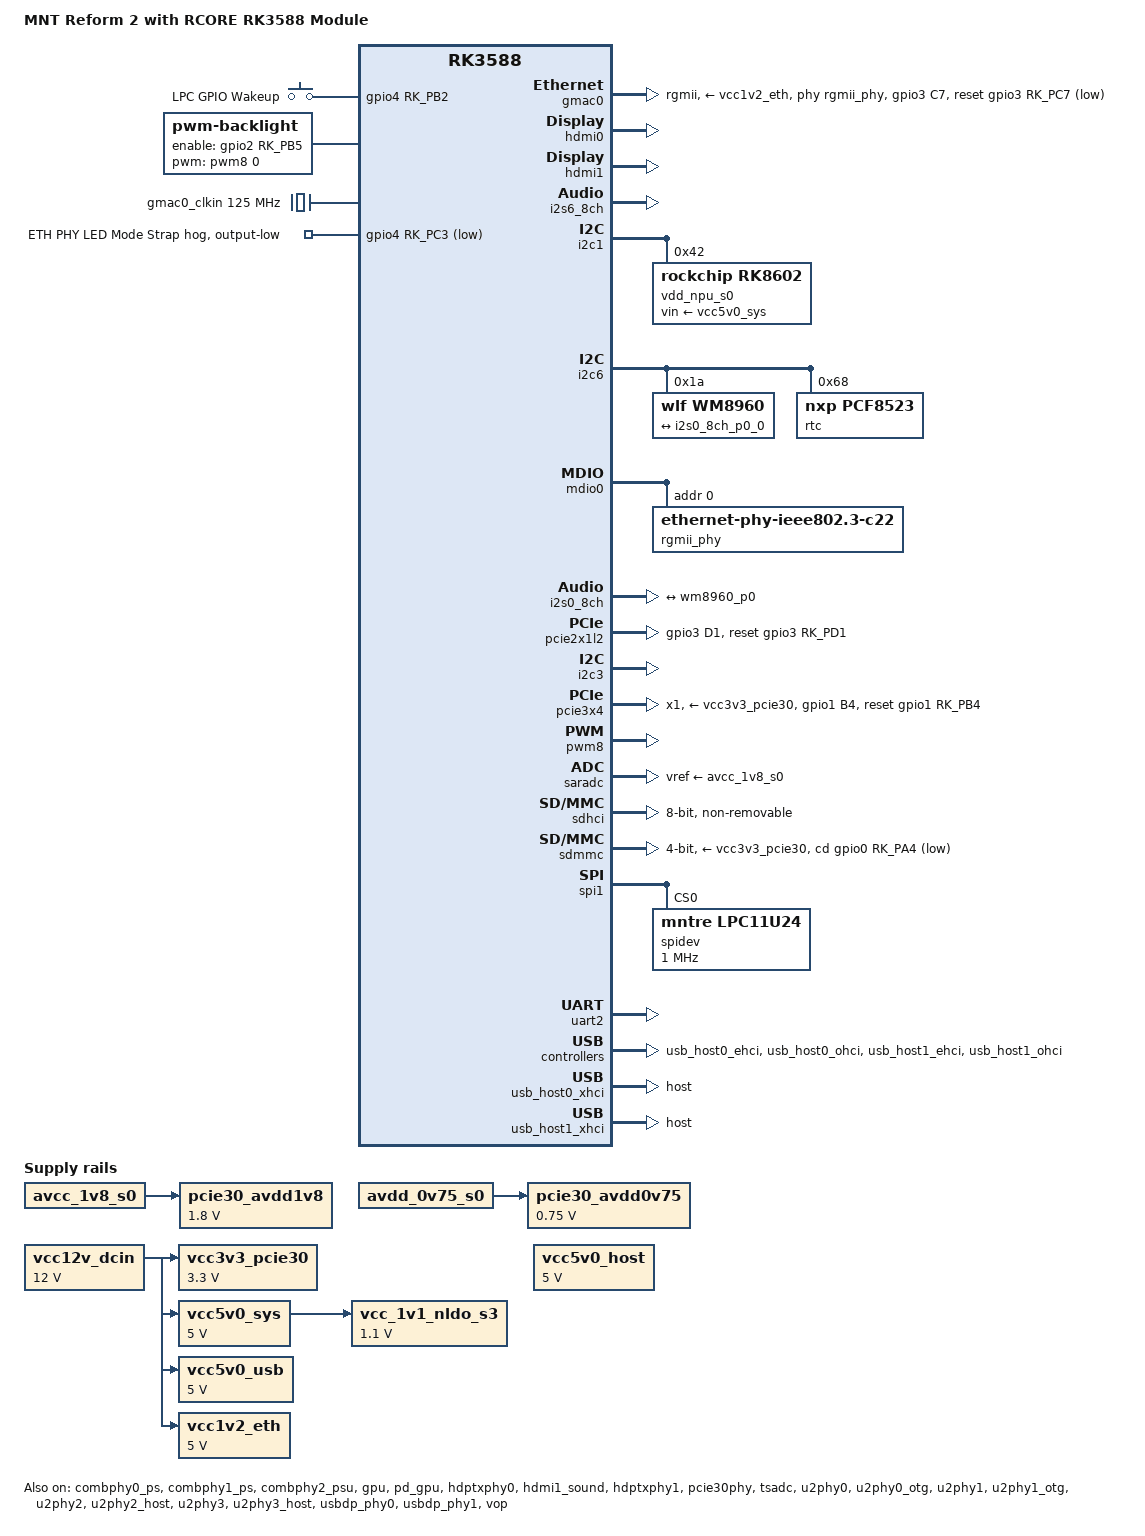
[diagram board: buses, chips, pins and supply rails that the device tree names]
// SPDX-License-Identifier: (GPL-2.0+ OR MIT)
/*
 * Copyright (c) 2021 Rockchip Electronics Co., Ltd.
 * Copyright (c) 2024 MNT Research GmbH
 *
 */

/dts-v1/;

#include <dt-bindings/gpio/gpio.h>
#include <dt-bindings/input/input.h>
#include <dt-bindings/pinctrl/rockchip.h>
#include <dt-bindings/soc/rockchip,vop2.h>
#include <dt-bindings/usb/pd.h>

#include "rk3588-firefly-icore-3588q.dtsi"

/ {
	model = "MNT Reform 2 with RCORE RK3588 Module";
	compatible = "mntre,reform2-rcore", "firefly,icore-3588q", "rockchip,rk3588";
	chassis-type = "laptop";

	aliases {
		ethernet0 = &gmac0;
		serial2 = &uart2;
		mmc0 = &sdhci;
		mmc1 = &sdmmc;
	};

	chosen {
		stdout-path = "serial2:1500000n8";
	};

	analog-sound {
		compatible = "audio-graph-card";
		label = "rk3588-wm8960";

		widgets =
			"Headphone", "Headphone Jack",
			"Microphone", "Mic Jack",
			"Speaker", "Ext Spk";

		routing =
			"Headphone Jack", "HP_L",
			"Headphone Jack", "HP_R",
			"Ext Spk", "SPK_LP",
			"Ext Spk", "SPK_LN",
			"Ext Spk", "SPK_RP",
			"Ext Spk", "SPK_RN",
			"LINPUT1", "Mic Jack",
			"Mic Jack", "MICB";

		dais = <&i2s0_8ch_p0>;
	};

	gpio-keys {
		compatible = "gpio-keys";
		pinctrl-0 = <&lpc_wakeup>;
		pinctrl-names = "default";

		key-wakeup {
			label = "LPC GPIO Wakeup";
			linux,code = <KEY_WAKEUP>;
			gpios = <&gpio4 RK_PB2 GPIO_ACTIVE_HIGH>;
			wakeup-source;
		};
	};

	backlight: backlight {
		compatible = "pwm-backlight";
		brightness-levels = <0 1000>;
		default-brightness-level = <50>;
		enable-gpios = <&gpio2 RK_PB5 GPIO_ACTIVE_HIGH>;
		num-interpolated-steps = <100>;
		pinctrl-0 = <&backlight_enable>;
		pinctrl-names = "default";
		pwms = <&pwm8 0 10000 0>;
	};

	gmac0_clkin: external-gmac0-clock {
		compatible = "fixed-clock";
		#clock-cells = <0>;
		clock-frequency = <125000000>;
		clock-output-names = "gmac0_clkin";
	};

	pcie30_avdd1v8: regulator-pcie30-avdd1v8 {
		compatible = "regulator-fixed";
		regulator-boot-on;
		regulator-always-on;
		regulator-min-microvolt = <1800000>;
		regulator-max-microvolt = <1800000>;
		regulator-name = "pcie30_avdd1v8";
		vin-supply = <&avcc_1v8_s0>;
	};

	pcie30_avdd0v75: regulator-pcie30-avdd0v75 {
		compatible = "regulator-fixed";
		regulator-always-on;
		regulator-boot-on;
		regulator-min-microvolt = <750000>;
		regulator-max-microvolt = <750000>;
		regulator-name = "pcie30_avdd0v75";
		vin-supply = <&avdd_0v75_s0>;
	};

	vcc12v_dcin: regulator-vcc12v-dcin {
		compatible = "regulator-fixed";
		regulator-always-on;
		regulator-boot-on;
		regulator-min-microvolt = <12000000>;
		regulator-max-microvolt = <12000000>;
		regulator-name = "vcc12v_dcin";
	};

	vcc_1v1_nldo_s3: regulator-vcc-1v1-nldo-s3 {
		compatible = "regulator-fixed";
		regulator-name = "vcc_1v1_nldo_s3";
		regulator-always-on;
		regulator-boot-on;
		regulator-min-microvolt = <1100000>;
		regulator-max-microvolt = <1100000>;
		vin-supply = <&vcc5v0_sys>;
	};

	vcc3v3_pcie30: regulator-vcc3v3-pcie30 {
		compatible = "regulator-fixed";
		regulator-always-on;
		regulator-boot-on;
		regulator-min-microvolt = <3300000>;
		regulator-max-microvolt = <3300000>;
		regulator-name = "vcc3v3_pcie30";
		vin-supply = <&vcc12v_dcin>;
	};

	vcc5v0_host: regulator-vcc5v0-host {
		compatible = "regulator-fixed";
		regulator-always-on;
		regulator-boot-on;
		regulator-min-microvolt = <5000000>;
		regulator-max-microvolt = <5000000>;
		regulator-name = "vcc5v0_host";
	};

	vcc5v0_sys: regulator-vcc5v0-sys {
		compatible = "regulator-fixed";
		regulator-always-on;
		regulator-boot-on;
		regulator-min-microvolt = <5000000>;
		regulator-max-microvolt = <5000000>;
		regulator-name = "vcc5v0_sys";
		vin-supply = <&vcc12v_dcin>;
	};

	vcc5v0_usb: regulator-vcc5v0-usb {
		compatible = "regulator-fixed";
		regulator-always-on;
		regulator-boot-on;
		regulator-min-microvolt = <5000000>;
		regulator-max-microvolt = <5000000>;
		regulator-name = "vcc5v0_usb";
		vin-supply = <&vcc12v_dcin>;
	};

	vcc1v2_eth: vcc1v2-eth {
		compatible = "regulator-fixed";
		regulator-name = "vcc1v2";
		regulator-always-on;
		regulator-boot-on;
		regulator-min-microvolt = <5000000>;
		regulator-max-microvolt = <5000000>;
		vin-supply = <&vcc12v_dcin>;
	};
};

&combphy0_ps {
	status = "okay";
};

&combphy1_ps {
	status = "okay";
};

&combphy2_psu {
	status = "okay";
};

&cpu_b0 {
	cpu-supply = <&vdd_cpu_big0_s0>;
	mem-supply = <&vdd_cpu_big0_s0>;
};

&cpu_b1 {
	cpu-supply = <&vdd_cpu_big0_s0>;
	mem-supply = <&vdd_cpu_big0_s0>;
};

&cpu_b2 {
	cpu-supply = <&vdd_cpu_big1_s0>;
	mem-supply = <&vdd_cpu_big1_s0>;
};

&cpu_b3 {
	cpu-supply = <&vdd_cpu_big1_s0>;
	mem-supply = <&vdd_cpu_big1_s0>;
};

&cpu_l0 {
	cpu-supply = <&vdd_cpu_lit_s0>;
	mem-supply = <&vdd_cpu_lit_mem_s0>;
};

&cpu_l1 {
	cpu-supply = <&vdd_cpu_lit_s0>;
	mem-supply = <&vdd_cpu_lit_mem_s0>;
};

&cpu_l2 {
	cpu-supply = <&vdd_cpu_lit_s0>;
	mem-supply = <&vdd_cpu_lit_mem_s0>;
};

&cpu_l3 {
	cpu-supply = <&vdd_cpu_lit_s0>;
	mem-supply = <&vdd_cpu_lit_mem_s0>;
};

&display_subsystem {
	clocks = <&hdptxphy0>, <&hdptxphy1>;
	clock-names = "pll_hdmiphy0", "pll_hdmiphy1";
};

&gmac0 {
	clock_in_out = "output";
	phy-handle = <&rgmii_phy>;
	phy-mode = "rgmii";
	phy-supply = <&vcc1v2_eth>;
	pinctrl-names = "default";
	pinctrl-0 = <&gmac0_miim
		     &gmac0_tx_bus2
		     &gmac0_rx_bus2
		     &gmac0_rgmii_clk
		     &gmac0_rgmii_bus
		     &eth0_pins
		     &eth_phy_reset>;

	tx_delay = <0x10>;
	rx_delay = <0x10>;

	snps,reset-active-low;
	snps,reset-delays-us = <0 10000 100000>;
	snps,reset-gpio = <&gpio3 RK_PC7 GPIO_ACTIVE_LOW>;

	status = "okay";
};

&gpu {
	mali-supply = <&vdd_gpu_s0>;
	sram-supply = <&vdd_gpu_mem_s0>;
	status = "okay";
};

&pd_gpu {
	status = "okay";
};

/* internal HDMI */
/* TODO: disable when HPD pulldown not fitted */
&hdmi0 {
	/* for 6.17 */
	tmds-enable-gpios = <&gpio4 RK_PA0 GPIO_ACTIVE_HIGH>;
	/* for 6.18 */
	frl-enable-gpios = <&gpio4 RK_PA0 GPIO_ACTIVE_HIGH>;
	status = "okay";
};

&hdmi0_in {
	hdmi0_in_vp2: endpoint {
		remote-endpoint = <&vp2_out_hdmi0>;
	};
};

&hdptxphy0 {
	status = "okay";
};

&hdmi1 {
	/* external HDMI */
	/* for 6.17 */
	tmds-enable-gpios = <&gpio4 RK_PB4 GPIO_ACTIVE_HIGH>;
	/* for 6.18 */
	frl-enable-gpios = <&gpio4 RK_PB4 GPIO_ACTIVE_HIGH>;
	status = "okay";

	pinctrl-names = "default";
	pinctrl-0 = <&hdmim2_tx1_cec &hdmim1_tx1_hpd &hdmim1_tx1_scl &hdmim1_tx1_sda>;
};

&hdmi1_sound {
	status = "okay";
};

&i2s6_8ch {
	status = "okay";
};

&hdmi1_in {
	hdmi1_in_vp0: endpoint {
		remote-endpoint = <&vp0_out_hdmi1>;
	};
};

&hdptxphy1 {
	status = "okay";
};

&i2c1 {
  pinctrl-names = "default";
	pinctrl-0 = <&i2c1m2_xfer>;
	status = "okay";

	vdd_npu_s0: vdd_npu_mem_s0: regulator@42 {
		compatible = "rockchip,rk8602";
		reg = <0x42>;
		fcs,suspend-voltage-selector = <1>;
		regulator-name = "vdd_npu_s0";
		regulator-always-on;
		regulator-boot-on;
		regulator-min-microvolt = <550000>;
		regulator-max-microvolt = <950000>;
		regulator-ramp-delay = <2300>;
		vin-supply = <&vcc5v0_sys>;

		regulator-state-mem {
			regulator-off-in-suspend;
		};
	};
};

&i2c6 {
	pinctrl-names = "default";
	pinctrl-0 = <&i2c6m0_xfer>;
	status = "okay";

	edp_bridge: bridge@2c {
		compatible = "ti,sn65dsi86";
		reg = <0x2c>;
		/* not actually connected on RCORE R1, will be fixed in RCORE R2. */
		/* for RCORE R1, remove resistor R82 from MREF motherboard (it pulls down the reset). */
		enable-gpios = <&gpio0 RK_PC0 GPIO_ACTIVE_LOW>;
		vccio-supply = <&vcc_1v8_s3>;
		vpll-supply = <&vcc_1v8_s3>;
		vcca-supply = <&avdd_1v2_s0>;
		vcc-supply = <&avdd_1v2_s0>;
		status = "disabled";
	};

	wm8960: codec@1a {
		compatible = "wlf,wm8960";
		reg = <0x1a>;
		clocks = <&cru I2S0_8CH_MCLKOUT>;
		clock-names = "mclk";
		assigned-clocks = <&cru I2S0_8CH_MCLKOUT>;
		assigned-clock-rates = <12288000>;
		#sound-dai-cells = <0>;

		port {
			wm8960_p0: endpoint {
				remote-endpoint = <&i2s0_8ch_p0_0>;
			};
		};
	};

	rtc@68 {
		compatible = "nxp,pcf8523";
		reg = <0x68>;
	};
};

&mdio0 {
	rgmii_phy: ethernet-phy@0 {
		compatible = "ethernet-phy-ieee802.3-c22";
		reg = <0x0>; /* 0 for KSZ9031RNX */
	};
};


&i2s0_8ch {
	pinctrl-names = "default";
	pinctrl-0 = <&i2s0_lrck
		     &i2s0_mclk
		     &i2s0_sclk
		     &i2s0_sdi0
		     &i2s0_sdo0>;
	status = "okay";

	i2s0_8ch_p0: port {
		i2s0_8ch_p0_0: endpoint {
			dai-format = "i2s";
			mclk-fs = <256>;
			remote-endpoint = <&wm8960_p0>;
		};
	};
};

&pcie2x1l2 {
	pinctrl-0 = <&pcie2_0_rst>;
	reset-gpios = <&gpio3 RK_PD1 GPIO_ACTIVE_HIGH>;
	pinctrl-names = "default";
	status = "okay";
};

&pcie30phy {
	status = "okay";
};

&i2c3 {
	status = "okay";
};

&pcie3x4 {
	num-lanes = <1>;
	pinctrl-names = "default";
	pinctrl-0 = <&pcie3_reset>;
	reset-gpios = <&gpio1 RK_PB4 GPIO_ACTIVE_HIGH>;
	vpcie3v3-supply = <&vcc3v3_pcie30>;
	status = "okay";
};

&pinctrl {
	backlight {
		backlight_enable: backlight-enable {
			rockchip,pins = <2 RK_PB5 RK_FUNC_GPIO &pcfg_pull_none>;
		};
	};

	keys {
		lpc_wakeup: lpc-wakeup {
			rockchip,pins = <4 RK_PB2 RK_FUNC_GPIO &pcfg_pull_down>;
		};
	};

	pcie2 {
		pcie2_0_rst: pcie2-0-rst {
			rockchip,pins = <3 RK_PD1 RK_FUNC_GPIO &pcfg_pull_none>;
		};
	};

	pcie3 {
		pcie3_reset: pcie3-reset {
			rockchip,pins = <1 RK_PB4 RK_FUNC_GPIO &pcfg_pull_none>;
		};
	};

	eth_phy {
		eth_phy_reset: eth-phy-reset {
			rockchip,pins = <3 RK_PC7 RK_FUNC_GPIO &pcfg_pull_none>;
		};
	};
};



&pwm8 {
	pinctrl-0 = <&pwm8m2_pins>;
	status = "okay";
};

&saradc {
	vref-supply = <&avcc_1v8_s0>;
	status = "okay";
};

&sdhci {
	bus-width = <8>;
	no-sdio;
	no-sd;
	non-removable;
	max-frequency = <150000000>;
	mmc-hs400-1_8v;
	mmc-hs400-enhanced-strobe;
	status = "okay";
};

&sdmmc {
	bus-width = <4>;
	cap-sd-highspeed;
	cd-gpios = <&gpio0 RK_PA4 GPIO_ACTIVE_LOW>;
	disable-wp;
	max-frequency = <40000000>;
	no-1-8-v;
	no-mmc;
	no-sdio;
	vmmc-supply = <&vcc3v3_pcie30>;
	vqmmc-supply = <&vcc3v3_pcie30>;
	status = "okay";
};

&tsadc {
	status = "okay";
};

&spi1 {
	status = "okay";
	assigned-clocks = <&cru CLK_SPI1>;
	assigned-clock-rates = <200000000>;
	pinctrl-names = "default";
	pinctrl-0 = <&spi1m2_cs0 &spi1m2_pins>;
	num-cs = <1>;

	spidev@0 {
		compatible = "mntre,lpc11u24";
		spi-max-frequency = <1000000>;
		reg = <0>;
	};
};



&gpio4 {
  /* there are no resistor straps for config options
  like LED_MODE on RCORE R1, so use a GPIO hog
  to configure the LED_MODE at PHY reset time */
  eth-phy-strap-hog {
    gpios = <RK_PC3 GPIO_ACTIVE_LOW>;
    output-low;
    line-name = "ETH PHY LED Mode Strap";
    gpio-hog;
  };
};

&u2phy0 {
	status = "okay";
};

&u2phy0_otg {
	status = "okay";
};

&u2phy1 {
	status = "okay";
};

&u2phy1_otg {
	status = "okay";
};

&u2phy2 {
	status = "okay";
};

&u2phy2_host {
	phy-supply = <&vcc5v0_host>;
	status = "okay";
};

&u2phy3 {
	status = "okay";
};

&u2phy3_host {
	phy-supply = <&vcc5v0_host>;
	status = "okay";
};

&usbdp_phy0 {
	status = "okay";
};

&usbdp_phy1 {
	status = "okay";
};

&uart2 {
	pinctrl-0 = <&uart2m0_xfer>;
	status = "okay";
};

&usb_host0_ehci {
	status = "okay";
};

&usb_host0_ohci {
	status = "okay";
};

&usb_host0_xhci {
	dr_mode = "host";
	status = "okay";
};

&usb_host1_ehci {
	status = "okay";
};

&usb_host1_ohci {
	status = "okay";
};

/*&usbdp_phy0_dp {
	status = "okay";
};

&usbdp_phy0_u3 {
	status = "okay";
};*/

/*&usbdp_phy1_u3 {
	status = "okay";
};*/

&usb_host1_xhci {
	dr_mode = "host";
	status = "okay";
};

&vop {
	status = "okay";
};

&vop_mmu {
	status = "okay";
};

&vp0 {
	vp0_out_hdmi1: endpoint@ROCKCHIP_VOP2_EP_HDMI1 {
		reg = <ROCKCHIP_VOP2_EP_HDMI1>;
		remote-endpoint = <&hdmi1_in_vp0>;
	};
};

&vp2 {
	vp2_out_hdmi0: endpoint@ROCKCHIP_VOP2_EP_HDMI0 {
		reg = <ROCKCHIP_VOP2_EP_HDMI0>;
		remote-endpoint = <&hdmi0_in_vp2>;
	};
};
